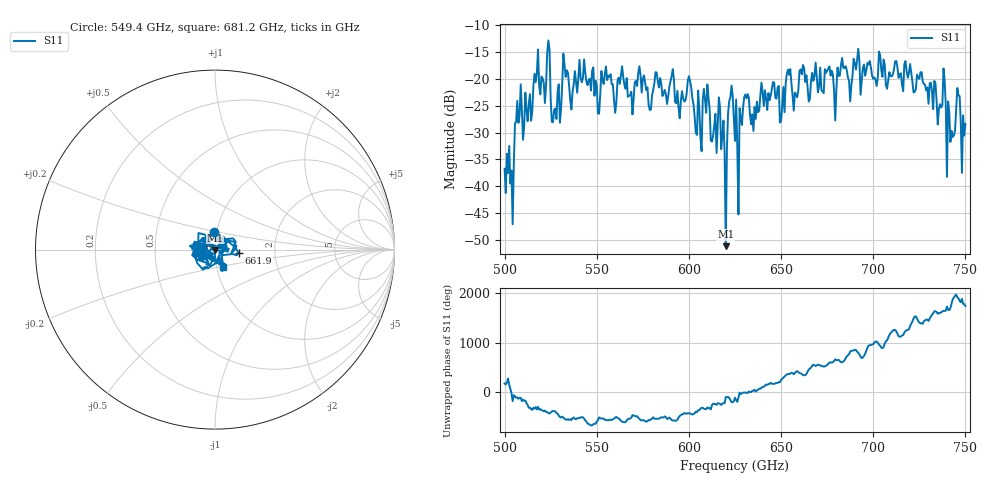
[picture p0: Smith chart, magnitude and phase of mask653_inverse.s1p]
!Created with skrf (http://scikit-rf.org).
# GHz S MA R 50.0
!freq magS11 angS11
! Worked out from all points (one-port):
!   401 points, 500 GHz to 750 GHz, reference 50 ohm
!   lowest |S11| = -51.1 dB at 620 GHz (marker M1), VSWR 1.01, Z = 50 - j0.278 ohm
!   |S11| at or under -10 dB: start of sweep to end of sweep
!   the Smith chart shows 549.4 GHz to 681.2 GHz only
!   S11 on the Smith chart (normalised r, x): 549.4 GHz: 0.98, +0.19; 661.9 GHz: 1.30, -0.05; 681.2 GHz: 1.07, -0.21
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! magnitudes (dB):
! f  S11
! 500 GHz  -36.7
! 503.8 GHz  -37.1
! 507.5 GHz  -28.2
! 513.8 GHz  -22.9
! 516.9 GHz  -20.6
! 523.8 GHz  -12.9
! 526.9 GHz  -25.8
! 531.2 GHz  -21.0
! 549.4 GHz  -20.4
! 562.5 GHz  -21.0
! 593.8 GHz  -22.2
! 600.6 GHz  -20.5
! 605.6 GHz  -25.6
! 609.4 GHz  -26.3
! 620 GHz  -51.1
! 622.5 GHz  -23.5
! 625 GHz  -31.6
! 627.5 GHz  -25.5
! 631.2 GHz  -23.7
! 635 GHz  -29.7
! 656.2 GHz  -23.1
! 661.9 GHz  -17.5
! 681.2 GHz  -19.5
! 687.5 GHz  -24.2
! 718.8 GHz  -19.8
! 738.1 GHz  -18.1
! 741.2 GHz  -26.2
! 750 GHz  -28.4
